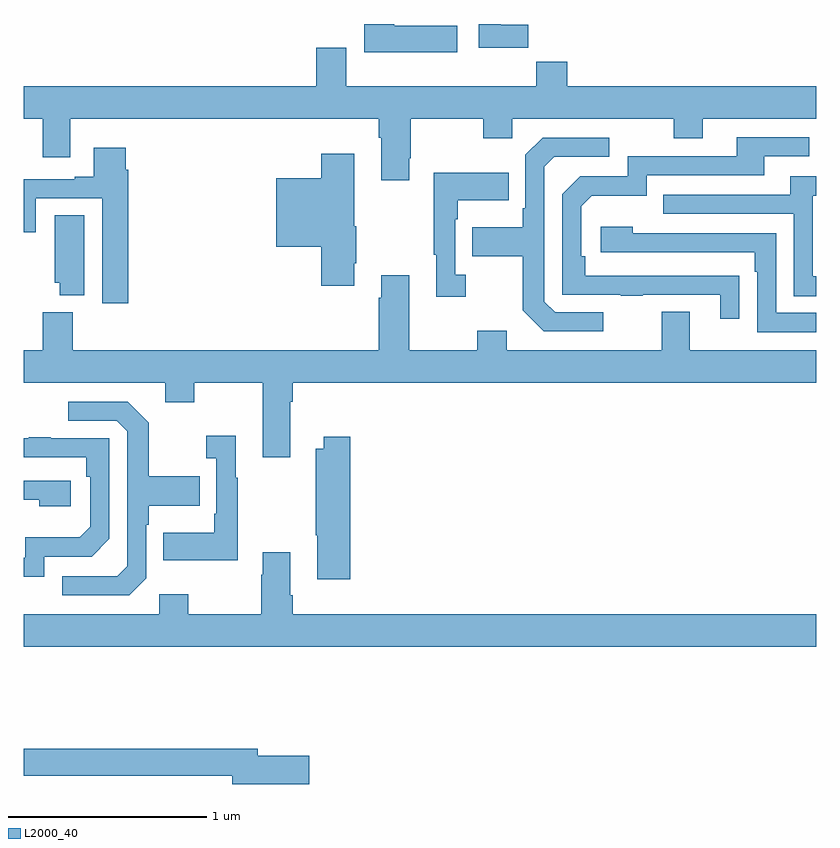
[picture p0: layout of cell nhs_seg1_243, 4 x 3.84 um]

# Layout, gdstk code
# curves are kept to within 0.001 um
import gdstk
lib = gdstk.Library(unit=1e-6, precision=1e-09)
def P(c, l, *ps):  # polygons
    for p in ps: c.add(gdstk.Polygon(p, *l))
L2000_40 = (2000, 40)

nhs_seg1_243 = lib.new_cell('nhs_seg1_243')
P(nhs_seg1_243, L2000_40, [(125.188,564.19),(124.87,564.19),(124.87,564.199),(124.718,564.199),(124.718,564.056),(125.188,564.056)],
  [(125.546,564.196),(125.407,564.196),(125.407,564.199),(125.297,564.199),(125.297,564.078),(125.546,564.078)],
  [(124.945,563.521),(124.953,563.521),(124.953,563.72),(125.32,563.72),(125.32,563.621),(125.466,563.621),(125.466,563.72),(126.28,563.72),(126.28,563.621),(126.427,563.621),(126.427,563.72),(127,563.72),(127,563.884),(125.744,563.884),(125.744,564.008),(125.587,564.008),(125.587,563.884),(124.627,563.884),(124.627,564.079),(124.475,564.079),(124.475,563.884),(123,563.884),(123,563.72),(123.095,563.72),(123.095,563.526),(123.235,563.526),(123.235,563.72),(124.793,563.72),(124.793,563.624),(124.805,563.624),(124.805,563.409),(124.945,563.409)],
  [(126.611,562.928),(125.834,562.929),(125.834,563.026),(125.814,563.026),(125.814,563.28),(125.867,563.333),(126.144,563.333),(126.144,563.436),(126.739,563.436),(126.739,563.532),(126.964,563.532),(126.964,563.628),(126.599,563.628),(126.599,563.532),(126.048,563.532),(126.048,563.43),(125.808,563.43),(125.718,563.34),(125.718,562.833),(126.013,562.833),(126.013,562.828),(126.125,562.828),(126.125,562.833),(126.515,562.833),(126.515,562.71),(126.611,562.71)],
  [(125.926,562.743),(125.682,562.743),(125.628,562.797),(125.628,563.478),(125.679,563.529),(125.956,563.529),(125.956,563.625),(125.619,563.625),(125.532,563.538),(125.532,563.269),(125.52,563.269),(125.52,563.173),(125.263,563.173),(125.263,563.026),(125.52,563.026),(125.52,562.753),(125.625,562.647),(125.926,562.647)],
  [(123.527,563.462),(123.514,563.462),(123.514,563.575),(123.353,563.575),(123.353,563.428),(123.257,563.428),(123.257,563.415),(123,563.415),(123,563.148),(123.061,563.148),(123.061,563.319),(123.395,563.319),(123.395,562.788),(123.527,562.788)],
  [(124.669,562.99),(124.677,562.99),(124.677,563.179),(124.669,563.179),(124.669,563.545),(124.502,563.545),(124.502,563.419),(124.274,563.419),(124.274,563.075),(124.502,563.075),(124.502,562.878),(124.669,562.878)],
  [(125.23,562.934),(125.178,562.934),(125.178,563.213),(125.191,563.213),(125.191,563.309),(125.447,563.309),(125.447,563.449),(125.07,563.449),(125.07,563.033),(125.081,563.033),(125.081,562.821),(125.23,562.821)],
  [(127,562.926),(126.984,562.926),(126.984,563.331),(127,563.331),(127,563.431),(126.869,563.431),(126.869,563.337),(126.229,563.337),(126.229,563.241),(126.888,563.241),(126.888,562.825),(127,562.825)],
  [(123.304,563.234),(123.155,563.234),(123.155,562.893),(123.182,562.893),(123.182,562.829),(123.304,562.829)],
  [(127,562.74),(126.798,562.74),(126.798,563.142),(126.074,563.142),(126.074,563.176),(125.913,563.176),(125.913,563.046),(126.689,563.046),(126.689,562.949),(126.702,562.949),(126.702,562.644),(127,562.644)],
  [(124.345,562.292),(124.358,562.292),(124.358,562.388),(127,562.388),(127,562.552),(126.361,562.552),(126.361,562.747),(126.221,562.747),(126.221,562.552),(125.437,562.552),(125.437,562.651),(125.29,562.651),(125.29,562.552),(124.945,562.552),(124.945,562.93),(124.805,562.93),(124.805,562.817),(124.793,562.817),(124.793,562.552),(123.248,562.552),(123.248,562.744),(123.095,562.744),(123.095,562.552),(123,562.552),(123,562.388),(123.713,562.388),(123.713,562.289),(123.861,562.289),(123.861,562.388),(124.205,562.388),(124.205,562.011),(124.345,562.011)],
  [(123.618,561.402),(123.618,561.671),(123.631,561.671),(123.631,561.767),(123.887,561.767),(123.887,561.915),(123.631,561.915),(123.631,562.187),(123.525,562.293),(123.225,562.293),(123.225,562.197),(123.468,562.197),(123.522,562.143),(123.522,561.462),(123.471,561.411),(123.195,561.411),(123.195,561.315),(123.531,561.315)],
  [(124.081,561.907),(124.069,561.907),(124.069,562.12),(123.921,562.12),(123.921,562.007),(123.972,562.007),(123.972,561.727),(123.96,561.727),(123.96,561.631),(123.703,561.631),(123.703,561.491),(124.081,561.491)],
  [(124.649,562.114),(124.514,562.114),(124.514,562.054),(124.474,562.054),(124.474,561.619),(124.481,561.619),(124.481,561.396),(124.649,561.396)],
  [(123.102,561.51),(123.342,561.51),(123.432,561.6),(123.432,562.107),(123.137,562.107),(123.137,562.112),(123.025,562.112),(123.025,562.107),(123,562.107),(123,562.011),(123.316,562.011),(123.316,561.914),(123.336,561.914),(123.336,561.66),(123.283,561.607),(123.006,561.607),(123.006,561.504),(123,561.504),(123,561.408),(123.102,561.408)],
  [(123.238,561.894),(123,561.894),(123,561.798),(123.077,561.798),(123.077,561.764),(123.238,561.764)],
  [(127,561.22),(124.358,561.22),(124.358,561.316),(124.345,561.316),(124.345,561.532),(124.205,561.532),(124.205,561.419),(124.198,561.419),(124.198,561.22),(123.831,561.22),(123.831,561.319),(123.684,561.319),(123.684,561.22),(123,561.22),(123,561.056),(127,561.056)],
  [(124.441,560.504),(124.18,560.504),(124.18,560.54),(123,560.54),(123,560.404),(124.052,560.404),(124.052,560.362),(124.441,560.362)])

lib.write_gds('nhs_seg1_243.gds')
